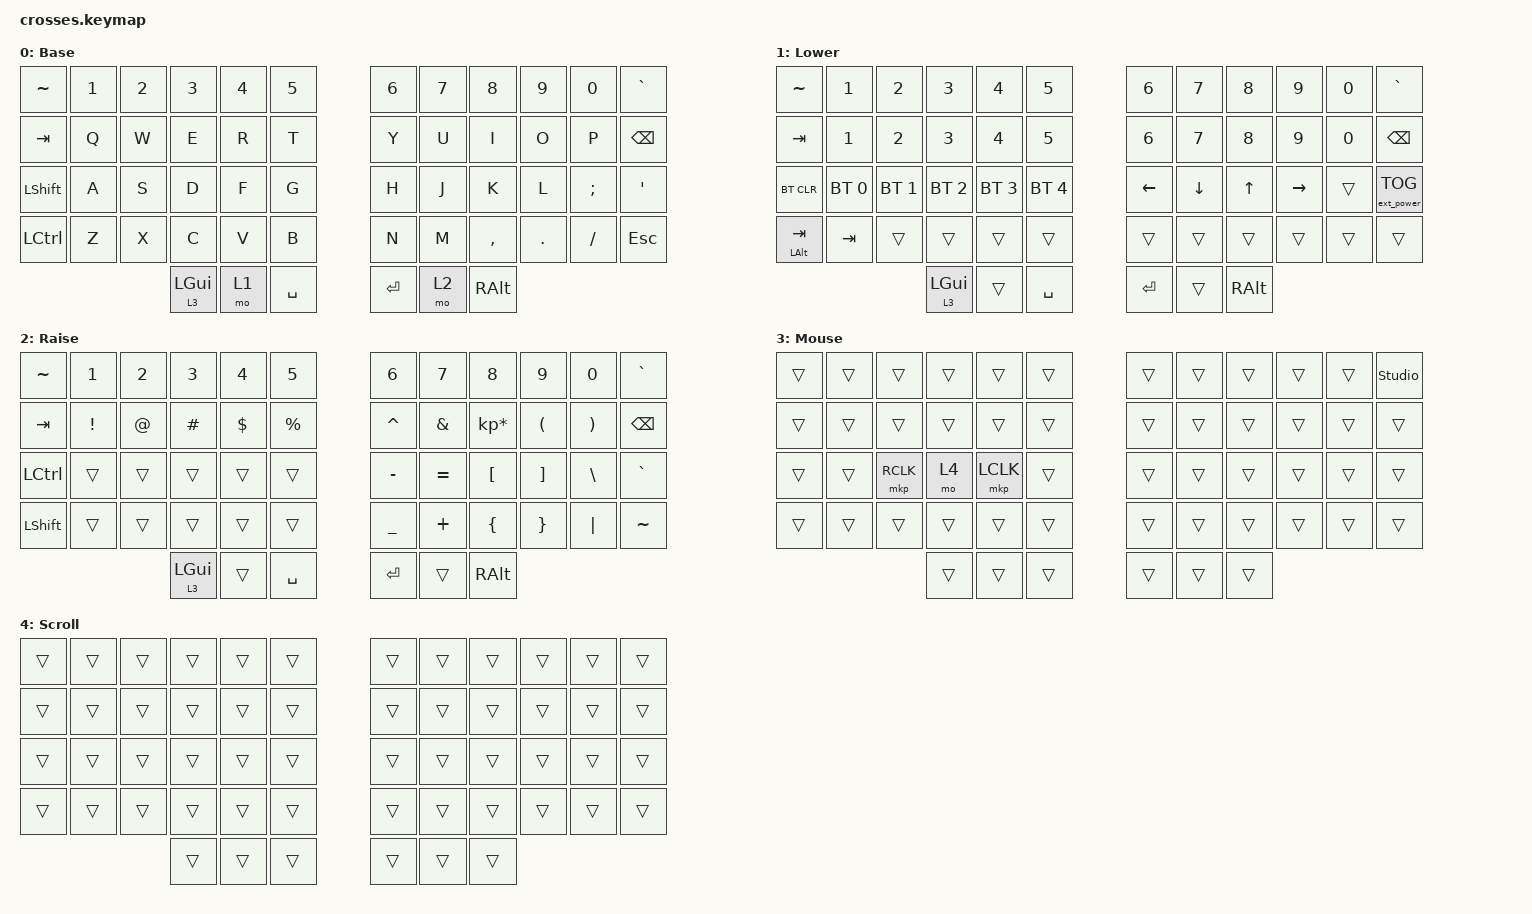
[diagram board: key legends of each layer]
#include <behaviors.dtsi>
#include <dt-bindings/zmk/bt.h>
#include <dt-bindings/zmk/keys.h>
#include <dt-bindings/zmk/ext_power.h>
#include <dt-bindings/zmk/pointing.h>

/ {
    behaviors {
        // Alt+Tab: HOLD segura o LALT (Alt puro, sustentado enquanto voce
        //          segura a tecla) -> toque o TAB vizinho quantas vezes quiser.
        //          TAP rapido = Tab normal.
        att: alt_tab_ht {
            compatible = "zmk,behavior-hold-tap";
            #binding-cells = <2>;
            flavor = "hold-preferred";
            tapping-term-ms = <180>;
            bindings = <&kp>, <&kp>;
        };
    };

    keymap {
        compatible = "zmk,keymap";
        default_layer {
            display-name = "Base";
            bindings = <
                &kp TILDE &kp N1 &kp N2 &kp N3 &kp N4 &kp N5   &kp N6 &kp N7  &kp N8     &kp N9   &kp N0    &kp GRAVE
                &kp TAB   &kp Q  &kp W  &kp E  &kp R  &kp T    &kp Y  &kp U   &kp I      &kp O    &kp P     &kp BSPC
                &kp LSHFT &kp A  &kp S  &kp D  &kp F  &kp G    &kp H  &kp J   &kp K      &kp L    &kp SEMI  &kp SQT
                &kp LCTRL &kp Z  &kp X  &kp C  &kp V  &kp B    &kp N  &kp M   &kp COMMA  &kp DOT  &kp FSLH  &kp ESC
                            &lt 3 LGUI &mo 1 &kp SPACE   &kp RET &mo 2 &kp RALT
            >;
        };
        lower_layer {
            display-name = "Lower";
            bindings = <
                &kp TILDE  &kp N1       &kp N2       &kp N3       &kp N4       &kp N5         &kp N6   &kp N7   &kp N8  &kp N9    &kp N0  &kp GRAVE
                &kp TAB    &kp N1       &kp N2       &kp N3       &kp N4       &kp N5         &kp N6   &kp N7   &kp N8  &kp N9    &kp N0  &kp BSPC
                &bt BT_CLR &bt BT_SEL 0 &bt BT_SEL 1 &bt BT_SEL 2 &bt BT_SEL 3 &bt BT_SEL 4   &kp LEFT &kp DOWN &kp UP  &kp RIGHT &trans  &ext_power EP_TOG
                &att LALT TAB &kp TAB   &trans  &trans       &trans        &trans        &trans   &trans   &trans  &trans    &trans  &trans
                                            &lt 3 LGUI &trans &kp SPACE   &kp RET &trans &kp RALT
            >;
        };
        raise_layer {
            display-name = "Raise";
            bindings = <
                &kp TILDE  &kp N1   &kp N2 &kp N3   &kp N4   &kp N5      &kp N6    &kp N7    &kp N8          &kp N9   &kp N0   &kp GRAVE
                &kp TAB    &kp EXCL &kp AT &kp HASH &kp DLLR &kp PRCNT   &kp CARET &kp AMPS  &kp KP_MULTIPLY &kp LPAR &kp RPAR &kp BSPC
                &kp LCTRL  &trans   &trans &trans   &trans   &trans      &kp MINUS &kp EQUAL &kp LBKT        &kp RBKT &kp BSLH &kp GRAVE
                &kp LSHFT  &trans   &trans &trans   &trans   &trans      &kp UNDER &kp PLUS  &kp LBRC        &kp RBRC &kp PIPE &kp TILDE
                                        &lt 3 LGUI &trans &kp SPACE   &kp RET &trans &kp RALT
            >;
        };
        mouse_layer {
            display-name = "Mouse";
            bindings = <
                &trans  &trans     &trans     &trans     &trans     &trans  &trans  &trans  &trans  &trans  &trans  &studio_unlock
                &trans  &trans     &trans     &trans     &trans     &trans  &trans  &trans  &trans  &trans  &trans  &trans
                &trans  &trans     &mkp RCLK  &mo 4      &mkp LCLK  &trans  &trans  &trans  &trans  &trans  &trans  &trans
                &trans  &trans     &trans     &trans     &trans     &trans  &trans  &trans  &trans  &trans  &trans  &trans
                                             &trans  &trans  &trans  &trans  &trans  &trans
            >;
        };
        scroll_layer {
            display-name = "Scroll";
            bindings = <
                &trans  &trans  &trans  &trans  &trans  &trans   &trans  &trans  &trans  &trans  &trans  &trans
                &trans  &trans  &trans  &trans  &trans  &trans   &trans  &trans  &trans  &trans  &trans  &trans
                &trans  &trans  &trans  &trans  &trans  &trans   &trans  &trans  &trans  &trans  &trans  &trans
                &trans  &trans  &trans  &trans  &trans  &trans   &trans  &trans  &trans  &trans  &trans  &trans
                                        &trans  &trans  &trans   &trans  &trans  &trans
            >;
        };
    };
};
